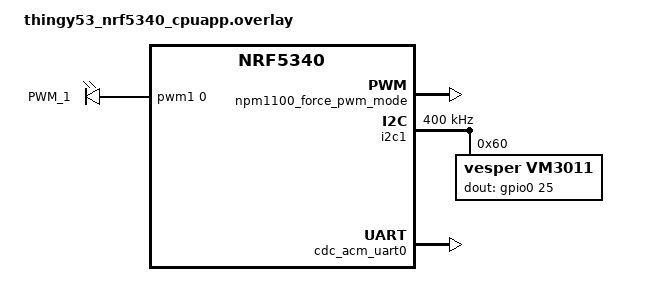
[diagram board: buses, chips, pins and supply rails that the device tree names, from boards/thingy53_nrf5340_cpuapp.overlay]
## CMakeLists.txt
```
cmake_minimum_required(VERSION 3.13.1)

set(PM_STATIC_YML_FILE ${CMAKE_CURRENT_SOURCE_DIR}/boards/pm_static_${BOARD}.yml)
set(CMAKE_CXX_STANDARD 11)
set(CMAKE_CXX_STANDARD_REQUIRED ON)

list(APPEND ZEPHYR_EXTRA_MODULES ${CMAKE_CURRENT_SOURCE_DIR}/drivers/vm3011 )

########################################################################## 
find_package(Zephyr REQUIRED HINTS $ENV{ZEPHYR_BASE})
project("thingy53_running_faucet_detection"
          VERSION 0.1)
##########################################################################

add_subdirectory(ei-model/edge-impulse-sdk/cmake/zephyr)

# Needed for colorful output
zephyr_compile_options(-fdiagnostics-color=always)

# Use hardware acceleration for DSP and Neural Network code
# You'll need to disable these on non-Arm cores
add_definitions(-DEIDSP_USE_CMSIS_DSP=1
                -DEIDSP_LOAD_CMSIS_DSP_SOURCES=1
                -DEI_CLASSIFIER_TFLITE_ENABLE_CMSIS_NN=1
                -DEIDSP_QUANTIZE_FILTERBANK=0
                -DARM_MATH_LOOPUNROLL
                -DEI_SENSOR_AQ_STREAM=FILE
                -DMBEDTLS_PLATFORM_ZEROIZE_ALT
                )

# Edge impulse SDK include directories
set(INCLUDES
    .
    drivers
    ei-model
    ei-model/tflite-model
    ei-model/model-parameters
    src
    src/libs/mbedtls_hmac_sha256_sw
    src/libs/QCBOR/inc
    src/libs/QCBOR/src
    src/libs
    )
include_directories(${INCLUDES})

RECURSIVE_FIND_FILE(MODEL_FILES "ei-model/tflite-model" "*.cpp")
RECURSIVE_FIND_FILE(BME68X_FILES "drivers/bme68x" "*.c")
RECURSIVE_FIND_FILE(FIRMWARE_SDK_FILES "firmware-sdk" "*.cpp")
RECURSIVE_FIND_FILE(LIB_QCBOR_FILES "src/libs/QCBOR/src" "*.c")
RECURSIVE_FIND_FILE(LIB_MBEDTLS_FILES "src/libs/mbedtls_hmac_sha256_sw/mbedtls/src" "*.c")
RECURSIVE_FIND_FILE(LIB_SENSOR_AQ_MBEDTLS_FILES "src/libs/sensor_aq_mbedtls" "*.cpp")
RECURSIVE_FIND_FILE(SENSORS_FILES "src/sensors" "*.cpp")
RECURSIVE_FIND_FILE(INFERENCE_FILES "src/inference" "*.cpp")

list(APPEND SOURCE_FILES ${MODEL_FILES})
list(APPEND SOURCE_FILES ${BME68X_FILES})
list(APPEND SOURCE_FILES ${FIRMWARE_SDK_FILES})
list(APPEND SOURCE_FILES ${LIB_QCBOR_FILES})
list(APPEND SOURCE_FILES ${LIB_MBEDTLS_FILES})
list(APPEND SOURCE_FILES ${LIB_SENSOR_AQ_MBEDTLS_FILES})
list(APPEND SOURCE_FILES ${SENSORS_FILES})
list(APPEND SOURCE_FILES ${INFERENCE_FILES})

# add all sources to the project
target_sources(app PRIVATE ${SOURCE_FILES})
target_sources(app PRIVATE src/ble/ei_ble_com.cpp)
target_sources(app PRIVATE src/ble/nus.c)
target_sources(app PRIVATE src/ble/ble_nus.cpp)
target_sources(app PRIVATE src/ei_base64_encode.cpp)
target_sources(app PRIVATE src/ei_at_handlers.cpp)
target_sources(app PRIVATE src/ei_device_thingy53.cpp)
target_sources(app PRIVATE src/ei_sampler.cpp)
target_sources(app PRIVATE src/flash_memory.cpp)
target_sources(app PRIVATE src/buzzer.cpp)
target_sources(app PRIVATE src/main.cpp)

# Preinitialization related to Thingy:53 DFU
target_sources_ifdef(CONFIG_BOARD_THINGY53_NRF5340_CPUAPP app PRIVATE
  boards/thingy53.c
)
```

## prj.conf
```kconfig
#
# Copyright (c) 2022 Edge Impulse
#
################################################################################
# Application configuratin

CONFIG_GPIO=y
# enable c++ support
CONFIG_CPLUSPLUS=y
CONFIG_LIB_CPLUSPLUS=y
CONFIG_NEWLIB_LIBC=y
CONFIG_NEWLIB_LIBC_FLOAT_PRINTF=y

# enable reboot from user space
CONFIG_REBOOT=y

# enable floating point unit
CONFIG_FPU=y

CONFIG_MAIN_STACK_SIZE=8192
CONFIG_HEAP_MEM_POOL_SIZE=16384
CONFIG_SYSTEM_WORKQUEUE_STACK_SIZE=4096
CONFIG_EI_INFERENCE_THREAD_STACK=4096

# serial console
CONFIG_SERIAL=y
CONFIG_UART_INTERRUPT_DRIVEN=y
CONFIG_CONSOLE_SUBSYS=n
CONFIG_CONSOLE_GETCHAR=n
CONFIG_USB_DEVICE_REMOTE_WAKEUP=n

CONFIG_NCS_SAMPLES_DEFAULTS=n
# Logging
CONFIG_ASSERT_NO_COND_INFO=y
CONFIG_ASSERT_NO_MSG_INFO=y
CONFIG_HW_STACK_PROTECTION=y

CONFIG_DEBUG=y
CONFIG_LOG=y
CONFIG_LOG_MODE_DEFERRED=y
CONFIG_LOG_PRINTK=y
CONFIG_LOG_PROCESS_THREAD_STARTUP_DELAY_MS=4000
CONFIG_LOG_BACKEND_UART=n
CONFIG_LOG_BACKEND_RTT=y
CONFIG_LOG_STRDUP_MAX_STRING=1024
# configure Segger RTT
CONFIG_USE_SEGGER_RTT=y
CONFIG_SEGGER_RTT_BUFFER_SIZE_UP=4096

# configure bluetooth
CONFIG_BT=y
CONFIG_BT_PERIPHERAL=y
CONFIG_BT_DEVICE_NAME="Thingy53_RFD"
CONFIG_BT_DEVICE_APPEARANCE=833
CONFIG_BT_MAX_CONN=1
CONFIG_BT_MAX_PAIRED=1

CONFIG_BT_SMP=y
CONFIG_BT_SIGNING=y
CONFIG_BT_BONDABLE=y
CONFIG_BT_CONN_TX_MAX=64
CONFIG_BT_SETTINGS=y
CONFIG_SETTINGS=y

CONFIG_BT_PERIPHERAL_PREF_MIN_INT=16
CONFIG_BT_PERIPHERAL_PREF_MAX_INT=16
CONFIG_BT_PERIPHERAL_PREF_LATENCY=0
CONFIG_BT_PERIPHERAL_PREF_TIMEOUT=100
CONFIG_BT_GAP_AUTO_UPDATE_CONN_PARAMS=y
CONFIG_BT_RX_STACK_SIZE=4096

CONFIG_CJSON_LIB=y

CONFIG_MCUBOOT_IMAGE_VERSION="1.0.0"
```

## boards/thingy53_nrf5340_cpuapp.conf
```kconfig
#
# Copyright (c) 2022 Edge Impulse
#
################################################################################
# Application configuration overlay - Thingy:53

CONFIG_MCUMGR=y
CONFIG_MCUMGR_SMP_BT=y
CONFIG_MCUMGR_SMP_BT_AUTHEN=n
CONFIG_MCUMGR_CMD_IMG_MGMT=y
CONFIG_MCUMGR_CMD_OS_MGMT=y
CONFIG_MCUMGR_GRP_ZEPHYR_BASIC=y
CONFIG_MCUMGR_GRP_BASIC_CMD_STORAGE_ERASE=y

CONFIG_BT_L2CAP_TX_MTU=498
CONFIG_BT_BUF_ACL_RX_SIZE=502
CONFIG_BT_BUF_ACL_TX_SIZE=251

# LEDs are not inverted on Thingy:53
CONFIG_DK_LIBRARY=y
CONFIG_PWM=y
#CONFIG_DK_LIBRARY_INVERT_LEDS=n

# Using built-in sensor
CONFIG_I2C=y
CONFIG_I2C_NRFX=y
CONFIG_SPI=y
CONFIG_NRFX_PDM=y
CONFIG_SENSOR=y

# acclerometer
CONFIG_ADXL362=y
CONFIG_ADXL362_ACCEL_RANGE_2G=y
CONFIG_ADXL362_ACCEL_ODR_400=y

# magnetometer
CONFIG_BMM150=y
CONFIG_BMM150_SAMPLING_RATE_RUNTIME=y
CONFIG_BMM150_SAMPLING_REP_XY=y
CONFIG_BMM150_SAMPLING_REP_Z=y
CONFIG_BMM150_PRESET_HIGH_ACCURACY=y

# color sensor
CONFIG_BH1749=y
CONFIG_BH1749_TRIGGER=n

# microphone
CONFIG_VM3011=y
# CONFIG_VM3011_FAST_MODE_COUNT_ENABLE=n
CONFIG_VM3011_PDM_BUFFER_SIZE=1600
# CONFIG_VM3011_WINDOW_COMP_4_TRIPS=y
# CONFIG_VM3011_HPF_400_KHZ=y
# CONFIG_VM3011_LPF_4_KHZ=y
# CONFIG_VM3011_WDT_ENABLE=y
# CONFIG_VM3011_WDT_DELAY_32_MS=y
# CONFIG_VM3011_WOS_DOUT_THRESHOLD=3
# CONFIG_VM3011_WOS_RMS_LPF=1
CONFIG_AUDIO=y
CONFIG_AUDIO_DMIC=y
CONFIG_AUDIO_DMIC_LOG_LEVEL_DBG=y

################################################################################
# Bootloader configuration

CONFIG_BOOTLOADER_MCUBOOT=y

CONFIG_IMG_MANAGER=y
CONFIG_MCUBOOT_IMG_MANAGER=y
CONFIG_IMG_ERASE_PROGRESSIVELY=y

CONFIG_UPDATEABLE_IMAGE_NUMBER=2

# FLASH nop device is enabled to prevent bus faults when mcumgr tries to access
# simulated partition with network core image data.
CONFIG_FLASH_NOP_DEVICE=y

################################################################################
# External flash configuration
CONFIG_FLASH=y
CONFIG_FLASH_MAP=y
CONFIG_FLASH_PAGE_LAYOUT=y
CONFIG_MPU_ALLOW_FLASH_WRITE=y

CONFIG_NORDIC_QSPI_NOR=y
CONFIG_NORDIC_QSPI_NOR_FLASH_LAYOUT_PAGE_SIZE=4096
CONFIG_NORDIC_QSPI_NOR_STACK_WRITE_BUFFER_SIZE=16

################################################################################
# Enable USB CDC ACM
CONFIG_USB_DEVICE_STACK=y
CONFIG_USB_NRFX_WORK_QUEUE_STACK_SIZE=1200
CONFIG_USB_DEVICE_PRODUCT="Application Thingy:53"
CONFIG_USB_DEVICE_VID=0x1915
CONFIG_USB_DEVICE_PID=0x530D
CONFIG_USB_CDC_ACM=y
CONFIG_USB_CDC_ACM_LOG_LEVEL_ERR=y
CONFIG_USB_DEVICE_LOG_LEVEL_ERR=y
```

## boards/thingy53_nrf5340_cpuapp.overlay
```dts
/*
 * Copyright (c) 2022, Edge Impulse
 *
 */

&i2c1 {
    clock-frequency = <I2C_BITRATE_FAST>;
    vm3011@60 {
        compatible = "vesper,vm3011";
        label = "VM3011";
        reg = <0x60>;
        clk-pin = <41>;
        data-pin = <27>;
        dout-gpios = <&gpio0 25 GPIO_ACTIVE_HIGH>;
    };
};

/*
 * This file is used to enable a partition which is used through the flash API
 * but which is in reality stored in RAM. This is done to load data from
 * external flash to the network core. Since the network core cannot access
 * the external flash directly, the data is buffered in RAM before being
 * copied by the network core to the network core flash.
 *
 * The partition must be enabled by the application configuration to prevent
 * bus faults when mcumgr tries to access simulated partition with network core
 * image data.
 */

/ {
	soc {
		/* Add a flash controller which has the compatible
		 * 'zephyr,sim-flash'. This will ensure that the flash
		 * simulator can use it. None of the other properties in this
		 * node is used for anything.
		 */
		nordic_ram_flash_controller: nordic_ram-flash-controller@0 {
			compatible = "zephyr,sim-flash";
			reg = <0x00000000 DT_SIZE_K(40)>;
			#address-cells = <1>;
			#size-cells = <1>;
			erase-value = <0xff>;
			label = "nordic_ram_flash_flash_controller";

			/* This node label must match that used in the flash
			 * simulator.
			 */
			flash_sim0: flash_sim@0 {
				status = "okay";
				compatible = "soc-nv-flash";
				label = "simulated_flash";
				erase-block-size = <4096>;
				write-block-size = <4>;
				reg = <0x00000000 DT_SIZE_K(256)>;

				partitions {
					compatible = "fixed-partitions";
					#address-cells = <1>;
					#size-cells = <1>;

					/* This partition must be defined for
					 * MCUboot to find the partition ID
					 * of the primary slot for image 1,
					 * which is stored in this partition.
					 */
					slot2_partition: partition@0 {
						label = "image-2";
						reg = <0x00000000 0x00000A000>;
					};
				};
			};
		};
	};

	npm1100_force_pwm_mode: npm1100_force_pwm_mode {
		status = "okay";
	};

	chosen {
		zephyr,console = &cdc_acm_uart0;
		zephyr,shell-uart = &cdc_acm_uart0;
		nordic,pm-ext-flash = &mx25r64;
	};

        pwmbuzzer {     
                compatible = "pwm-leds"; 
                status = "okay";
                        
                buzzer: buzzer_pwm {
                        pwms = <&pwm1 0 PWM_KHZ(1) PWM_POLARITY_NORMAL>;
                        label = "PWM_1";
                };       
        };               
                        
        aliases {
                buzzer-pwm = &buzzer;
        };
};

&zephyr_udc0 {
	cdc_acm_uart0: cdc_acm_uart0 {
		compatible = "zephyr,cdc-acm-uart";
		label = "CDC_ACM_0";
	};
};
```

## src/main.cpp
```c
#include "ei_device_thingy53.h"
#include "ble/ei_ble_com.h"
#include "edge-impulse-sdk/porting/ei_classifier_porting.h"
#include "inference/ei_run_impulse.h"
#include "sensors/ei_microphone.h"
#include <drivers/uart.h>
#include <logging/log.h>
#include <nrfx_clock.h>
#include <zephyr.h>

#define LOG_MODULE_NAME main

LOG_MODULE_REGISTER(LOG_MODULE_NAME);

static const struct device *uart;

void ei_putchar(char c)
{
    uart_fifo_fill(uart, (const uint8_t*)&c, 1);
}

int main(void)
{
    EiDeviceThingy53 *dev = static_cast<EiDeviceThingy53*>(EiDeviceInfo::get_device());

    /* output of printf is output immediately without buffering */ 
    setvbuf(stdout, NULL, _IONBF, 0);

    /* Switch CPU core clock to 128 MHz */
    nrfx_clock_divider_set(NRF_CLOCK_DOMAIN_HFCLK, NRF_CLOCK_HFCLK_DIV_1);

    /* Initialize board uart */
    uart = device_get_binding("CDC_ACM_0");
    if (!uart) {
        LOG_ERR("Failed to init CDC_ACM_0\n");
    }

    /* Setup the microphone */
    if (ei_microphone_init() == false) {
         LOG_ERR("Microphone init failed!");
    }

    // init BLE stack
    ei_ble_com_init();

    // we have to do this later because the BLE stack is not available on boot
    dev->init_device_id();

    dev->set_state(eiStateFinished);

    // continuous=true, debug=false
    ei_start_impulse(true, false);
    //dev->set_serial_channel(UART);
    dev->set_serial_channel(BLE);

    while(1) {
        if (!is_inference_running()) {
            ei_printf("Inferencing Stopped\n");
        } else {
            ei_printf("Inferencing OK\n");
        }
        ei_sleep(1000);
    }
}

K_THREAD_DEFINE(inference_thread_id, CONFIG_EI_INFERENCE_THREAD_STACK,
                ei_inference_thread, NULL, NULL, NULL,
                CONFIG_EI_INFERENCE_THREAD_PRIO, 0, 0);
```

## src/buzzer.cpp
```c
/*
 * Copyright (c) 2021 Nordic Semiconductor ASA
 *
 * SPDX-License-Identifier: LicenseRef-Nordic-5-Clause
 */

#include "buzzer.h"

#include <zephyr/drivers/pwm.h>

static const struct pwm_dt_spec sBuzzer = PWM_DT_SPEC_GET(DT_ALIAS(buzzer_pwm));

static bool sBuzzerState;

int BuzzerInit()
{
    if (!device_is_ready(sBuzzer.dev)) {
	return -ENODEV;
    }
    return 0;
}

void BuzzerSetState(bool onOff)
{
    sBuzzerState = onOff;
    //pwm_set_pulse_dt(&sBuzzer, sBuzzerState ? (sBuzzer.period / 2) : 0);
    pwm_set_pulse_dt(&sBuzzer, sBuzzerState ? (sBuzzer.period / 2) : 0);
}

void BuzzerToggleState()
{
    BuzzerSetState(!sBuzzerState);
}
```
